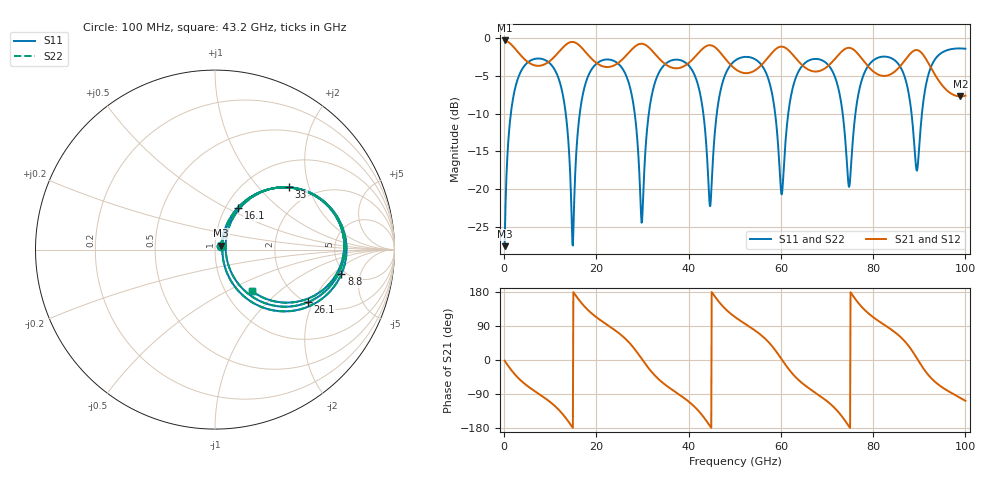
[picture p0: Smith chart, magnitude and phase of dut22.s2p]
! Touchstone file exported from HFSS 2026.1.0
!  File:  C:/ffzhzh/LocalFiles/Ansys_Project_Files/temp_train_TSV_RDL_22_1783439358_41684.aedt
!  Generated:  12:09:29 AM Jul  8, 2026
!  Design:  TSV_RDL
!  Project:  temp_train_TSV_RDL_22_1783439358_41684
! Variables:
!  h_bsmrdl = 3.5um
!  h_ox = 20um
!  h_rdl = 5um
!  h_sub = 54.1um
!  h_tmrdl = 3.3um
!  h_tsv = 54.1um
!  h_via = 3um
!  l_bsmrdl = 439.8um
!  l_sub = 4315.25um
!  l_tmrdl = 631.12um
!  m_sub = 200um
!  pitch = 59.19um
!  r_tsv = 5.63um
!  s_tmrdl = 10um
!  w_bsmrdl = 11.46um
!  w_sub = 500um
!  w_tmrdl = 12.33um
!  x_tsv_center1 = 637.285um
!  x_tsv_center2 = 1088.545um
!  x_tsv_center3 = 1731.995um
!  x_tsv_center4 = 2183.255um
!  x_tsv_center5 = 2826.705um
!  x_tsv_center6 = 3277.965um
# GHz S MA R 50.000000
! Terminal data exported
! Port[1] = TM_RDL1_1_T1
! Port[2] = TM_RDL5_1_T1
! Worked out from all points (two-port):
!   1000 points, 100 MHz to 100 GHz, reference 50 ohm
!   highest |S21| = -0.30 dB at 100 MHz (marker M1); lowest = -7.7 dB at 98.9 GHz (marker M2)
!   |S21| within 3 dB of the highest: 9.275 GHz to 20.04 GHz (10.76 GHz wide, 73.4 % of centre); 24.69 GHz to 34.64 GHz (9.953 GHz wide, 33.6 % of centre) (the widest 2 of 7)
!   lowest |S11| = -27.6 dB at 100 MHz (marker M3), VSWR 1.09, Z = 53.6 + j2.44 ohm
!   |S11| at or under -10 dB: 13.35 GHz to 16.39 GHz (3.038 GHz wide, 20.4 % of centre); 28.31 GHz to 31.36 GHz (3.058 GHz wide, 10.3 % of centre); 43.18 GHz to 46.1 GHz (2.922 GHz wide, 6.55 % of centre) (the widest 3 of 7)
!   |S22| runs from -27.7 to -1.4 dB; largest |S21 - S12| = 6e-11
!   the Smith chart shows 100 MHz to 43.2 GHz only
!   S11 on the Smith chart (normalised r, x): 100 MHz: 1.07, +0.05; 8.8 GHz: 4.60, -2.56; 16.1 GHz: 1.14, +0.57; 26.1 GHz: 2.03, -1.84; 33 GHz: 1.52, +1.50; 43.2 GHz: 1.33, -0.68
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0.1  0.04165 33.1  0.9656 -1.8  0.9656 -1.8  0.04165 33.1
! Gamma 0 0 0 0
! Port Impedance 50 0 50 0
2.5  0.4816 45.6  0.8425 -40.3  0.8425 -40.3  0.4816 45.6
8.8  0.7175 -10.9  0.6712 -100.2  0.6712 -100.2  0.7175 -10.9
12.8  0.4092 -51.1  0.8707 -144.5  0.8707 -144.5  0.4092 -51.2
14.8  0.04316 -16.5  0.9441 -177.3  0.9441 -177.3  0.04258 -16.9
16.1  0.2636 61.0  0.906 160.7  0.906 160.7  0.2634 61.1
16.8  0.3846 53.4  0.8645 149.9  0.8645 149.9  0.3845 53.5
26.1  0.5949 -29.6  0.747 58.2  0.747 58.2  0.5949 -29.5
29.8  0.05957 -3.8  0.9185 3.7  0.9185 3.7  0.05983 -3.7
33  0.5401 40.0  0.7674 -44.9  0.7674 -44.9  0.5401 40.0
33.4  0.5775 36.0  0.7438 -49.6  0.7438 -49.6  0.5775 36.0
43.2  0.3125 -48.1  0.8594 -149.9  0.8594 -149.9  0.3123 -48.3
44.7  0.07698 12.5  0.8978 -175.4  0.8978 -175.4  0.07548 12.6
50.1  0.7112 20.3  0.6245 113.0  0.6245 113.0  0.7111 20.4
57  0.5668 -33.1  0.7307 51.3  0.7307 51.3  0.5668 -33.1
60.1  0.09278 -6.6  0.8787 3.1  0.8787 3.1  0.09294 -6.6
66.7  0.7231 8.6  0.6054 -80.0  0.6054 -80.0  0.723 8.7
74.9  0.1065 16.4  0.8623 -177.7  0.8623 -177.7  0.1083 16.2
83.4  0.7473 -4.2  0.5689 84.8  0.5689 84.8  0.7472 -4.4
89.6  0.1361 14.8  0.833 2.3  0.833 2.3  0.133 15.1
98.9  0.8548 -11.3  0.4107 -99.9  0.4107 -99.9  0.8546 -11.2
100  0.8508 -17.1  0.4154 -107.7  0.4154 -107.7  0.8507 -17.1
